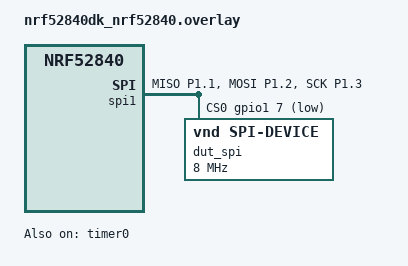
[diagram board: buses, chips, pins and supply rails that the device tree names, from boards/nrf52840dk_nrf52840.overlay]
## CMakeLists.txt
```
#
# Copyright (c) 2025 Nordic Semiconductor ASA
#
# SPDX-License-Identifier: LicenseRef-Nordic-5-Clause
#

cmake_minimum_required(VERSION 3.20.0)

find_package(Zephyr REQUIRED HINTS $ENV{ZEPHYR_BASE})

project(spim_latency)

target_sources(app PRIVATE src/main.c)
```

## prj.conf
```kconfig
CONFIG_SPI=y

CONFIG_ZTEST=y
CONFIG_DK_LIBRARY=y
CONFIG_COUNTER=y
```

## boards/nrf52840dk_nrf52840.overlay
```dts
/*
 * Copyright (c) 2025 Nordic Semiconductor ASA
 *
 * SPDX-License-Identifier: LicenseRef-Nordic-5-Clause
 */

/* Required loopbacks:
 * P1.01 <-> P1.02
 */

/ {
	aliases {
		tst-timer = &timer0;
	};
};

&pinctrl {
	dut_spi_default: dut_spi_default {
		group1 {
			psels = <NRF_PSEL(SPIM_MISO, 1, 1)>,
				<NRF_PSEL(SPIM_MOSI, 1, 2)>,
				<NRF_PSEL(SPIM_SCK, 1, 3)>;
		};
	};

	dut_spi_sleep: dut_spi_sleep {
		group1 {
			psels =	<NRF_PSEL(SPIM_MISO, 1, 1)>,
				<NRF_PSEL(SPIM_MOSI, 1, 2)>,
				<NRF_PSEL(SPIM_SCK, 1, 3)>;
			low-power-enable;
		};
	};
};

&spi1 {
	compatible = "nordic,nrf-spim";
	status = "okay";
	pinctrl-0 = <&dut_spi_default>;
	pinctrl-1 = <&dut_spi_sleep>;
	pinctrl-names = "default", "sleep";
	overrun-character = <0x00>;
	zephyr,pm-device-runtime-auto;
	cs-gpios = <&gpio1 7 GPIO_ACTIVE_LOW>;
	dut_spi: test-spi-dev@0 {
		compatible = "vnd,spi-device";
		reg = <0>;
		spi-max-frequency = <DT_FREQ_M(8)>;
	};
};

&timer0 {
	status = "okay";
};

&gpio1 {
	status = "okay";
};
```

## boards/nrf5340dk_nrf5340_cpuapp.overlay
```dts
/*
 * Copyright (c) 2025 Nordic Semiconductor ASA
 *
 * SPDX-License-Identifier: LicenseRef-Nordic-5-Clause
 */

/* Required loopbacks:
 * P0.04 <-> P0.05
 */

/ {
	aliases {
		tst-timer = &timer0;
	};
};

&pinctrl {
	dut_spi_default: dut_spi_default {
		group1 {
			psels = <NRF_PSEL(SPIM_MISO, 0, 4)>,
				<NRF_PSEL(SPIM_MOSI, 0, 5)>,
				<NRF_PSEL(SPIM_SCK, 0, 6)>;
		};
	};

	dut_spi_sleep: dut_spi_sleep {
		group1 {
			psels =	<NRF_PSEL(SPIM_MISO, 0, 4)>,
				<NRF_PSEL(SPIM_MOSI, 0, 5)>,
				<NRF_PSEL(SPIM_SCK, 0, 6)>;
			low-power-enable;
		};
	};
};

&spi1 {
	compatible = "nordic,nrf-spim";
	status = "okay";
	pinctrl-0 = <&dut_spi_default>;
	pinctrl-1 = <&dut_spi_sleep>;
	pinctrl-names = "default", "sleep";
	overrun-character = <0x00>;
	zephyr,pm-device-runtime-auto;
	cs-gpios = <&gpio0 8 GPIO_ACTIVE_LOW>;
	dut_spi: test-spi-dev@0 {
		compatible = "vnd,spi-device";
		reg = <0>;
		spi-max-frequency = <DT_FREQ_M(8)>;
	};
};

&timer0 {
	status = "okay";
};

&gpio0 {
	status = "okay";
};
```

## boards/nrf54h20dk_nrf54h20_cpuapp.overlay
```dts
/*
 * Copyright (c) 2025 Nordic Semiconductor ASA
 *
 * SPDX-License-Identifier: LicenseRef-Nordic-5-Clause
 */

/* Required loopbacks:
 * P0.07 <-> P0.06
 */

/ {
	aliases {
		tst-timer = &timer130;
	};
};

&gpiote130 {
	status = "okay";
	owned-channels = <0>;
};

&pinctrl {
	dut_spi_default: dut_spi_default {
		group1 {
			psels = <NRF_PSEL(SPIM_SCK, 0, 0)>,
				<NRF_PSEL(SPIM_MOSI, 0, 7)>,
				<NRF_PSEL(SPIM_MISO, 0, 6)>;
		};
	};

	dut_spi_sleep: dut_spi_sleep {
		group1 {
			psels = <NRF_PSEL(SPIM_SCK, 0, 0)>,
				<NRF_PSEL(SPIM_MISO, 0, 6)>,
				<NRF_PSEL(SPIM_MOSI, 0, 7)>;
			low-power-enable;
		};
	};
};

&spi130 {
	compatible = "nordic,nrf-spim";
	status = "okay";
	pinctrl-0 = <&dut_spi_default>;
	pinctrl-1 = <&dut_spi_sleep>;
	pinctrl-names = "default", "sleep";
	overrun-character = <0x00>;
	memory-regions = <&cpuapp_dma_region>;
	cs-gpios = <&gpio0 10 GPIO_ACTIVE_LOW>;
	zephyr,pm-device-runtime-auto;
	dut_spi: test-spi-dev@0 {
		compatible = "vnd,spi-device";
		reg = <0>;
		spi-max-frequency = <DT_FREQ_M(8)>;
	};
};

&exmif {
	status = "disabled";
};

&timer130 {
	status = "okay";
};
```

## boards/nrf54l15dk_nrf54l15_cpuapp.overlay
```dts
/*
 * Copyright (c) 2025 Nordic Semiconductor ASA
 *
 * SPDX-License-Identifier: LicenseRef-Nordic-5-Clause
 */

/* Required loopbacks:
 * P1.10 <-> P1.11
 */

/ {
	aliases {
		tst-timer = &timer20;
	};
};

&pinctrl {
	dut_spi_default: dut_spi_default {
		group1 {
			psels = <NRF_PSEL(SPIM_SCK, 1, 8)>,
				<NRF_PSEL(SPIM_MISO, 1, 10)>,
				<NRF_PSEL(SPIM_MOSI, 1, 11)>;
		};
	};

	dut_spi_sleep: dut_spi_sleep {
		group1 {
			psels = <NRF_PSEL(SPIM_SCK, 1, 8)>,
				<NRF_PSEL(SPIM_MISO, 1, 10)>,
				<NRF_PSEL(SPIM_MOSI, 1, 11)>;
			low-power-enable;
		};
	};
};

&spi21 {
	compatible = "nordic,nrf-spim";
	status = "okay";
	pinctrl-0 = <&dut_spi_default>;
	pinctrl-1 = <&dut_spi_sleep>;
	pinctrl-names = "default", "sleep";
	overrun-character = <0x00>;
	zephyr,pm-device-runtime-auto;
	cs-gpios = <&gpio1 12 GPIO_ACTIVE_LOW>;
	dut_spi: test-spi-dev@0 {
		compatible = "vnd,spi-device";
		reg = <0>;
		spi-max-frequency = <DT_FREQ_M(8)>;
	};
};

&gpio1 {
	status = "okay";
};

&timer20 {
	status = "okay";
};
```

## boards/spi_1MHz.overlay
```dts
/*
 * Copyright (c) 2025 Nordic Semiconductor ASA
 *
 * SPDX-License-Identifier: LicenseRef-Nordic-5-Clause
 */

&dut_spi {
	spi-max-frequency = <DT_FREQ_M(1)>;
};
```

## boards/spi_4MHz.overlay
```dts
/*
 * Copyright (c) 2025 Nordic Semiconductor ASA
 *
 * SPDX-License-Identifier: LicenseRef-Nordic-5-Clause
 */

&dut_spi {
	spi-max-frequency = <DT_FREQ_M(4)>;
};
```

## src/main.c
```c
/*
 * Copyright (c) 2025 Nordic Semiconductor ASA
 *
 * SPDX-License-Identifier: LicenseRef-Nordic-5-Clause
 */

#include <zephyr/kernel.h>
#include <zephyr/ztest.h>
#include <zephyr/drivers/spi.h>
#include <nrfx_spim.h>
#include <zephyr/linker/devicetree_regions.h>
#include <zephyr/drivers/counter.h>
#include <dk_buttons_and_leds.h>
#include <math.h>

#define TEST_TIMER_COUNT_TIME_LIMIT_MS 500

#define SPI_MODE                                                                                   \
	(SPI_OP_MODE_MASTER | SPI_WORD_SET(8) | SPI_LINES_SINGLE | SPI_TRANSFER_MSB |              \
	 SPI_MODE_CPHA | SPI_MODE_CPOL)

#define MAX_TEST_BUFFER_SIZE 2000

static struct spi_dt_spec spim_spec = SPI_DT_SPEC_GET(DT_NODELABEL(dut_spi), SPI_MODE, 0);
const struct device *const tst_timer_dev = DEVICE_DT_GET(DT_ALIAS(tst_timer));

#define MEMORY_SECTION(node)                                                                       \
	COND_CODE_1(DT_NODE_HAS_PROP(node, memory_regions),                                        \
		    (__attribute__((__section__(                                                   \
			    LINKER_DT_NODE_REGION_NAME(DT_PHANDLE(node, memory_regions)))))),      \
		    ())

static uint8_t tx_buffer[MAX_TEST_BUFFER_SIZE] MEMORY_SECTION(DT_BUS(DT_NODELABEL(dut_spi)));
static uint8_t rx_buffer[MAX_TEST_BUFFER_SIZE] MEMORY_SECTION(DT_BUS(DT_NODELABEL(dut_spi)));

static void *test_setup(void)
{
	zassert_true(spi_is_ready_dt(&spim_spec), "SPIM device is not ready");
	zassert_equal(dk_leds_init(), 0, "DK leds init failed");

	return NULL;
}

static void cleanup_buffers(void *nullp)
{
	memset(tx_buffer, 0xFF, MAX_TEST_BUFFER_SIZE);
	memset(rx_buffer, 0xFF, MAX_TEST_BUFFER_SIZE);
}

static void prepare_test_data(uint8_t *buffer, size_t buffer_size)
{
	for (size_t counter = 0; counter < buffer_size; counter++) {
		buffer[counter] = counter + 1;
	}
}

static void configure_test_timer(const struct device *timer_dev, uint32_t count_time_ms)
{
	struct counter_alarm_cfg counter_cfg;

	counter_cfg.flags = 0;
	counter_cfg.ticks = counter_us_to_ticks(timer_dev, (uint64_t)count_time_ms * 1000);
	counter_cfg.user_data = &counter_cfg;
}

static uint32_t calculate_theoretical_transsmison_time_us(size_t buffer_size,
							  uint32_t spim_frequency)
{
	double ratio = 1000000.0 / (double)spim_frequency;

	return (uint32_t)(ceil(ratio * (double)(buffer_size * 8 + NRF_SPIM_CSNDUR_DEFAULT)));
}

static void assess_measurement_result(uint64_t timer_value_us,
				      uint32_t theoretical_transmission_time_us, size_t buffer_size)
{
	uint64_t maximal_allowed_transmission_time_us;

	if (buffer_size == 1) {
		/* 3000%
		 * Issue with latency for 1B buffer is reported
		 * limit will be adjusted after fix
		 */
		maximal_allowed_transmission_time_us = (1 + 30) * theoretical_transmission_time_us;
	} else {
		/* 100% */
		maximal_allowed_transmission_time_us = (1 + 1) * theoretical_transmission_time_us;
	}
	zassert_true(timer_value_us < maximal_allowed_transmission_time_us,
		     "Measured transmission call latency is over the specified limit %llu > %llu",
		     timer_value_us, maximal_allowed_transmission_time_us);
}

static void test_spim_transmission_latency(size_t buffer_size)
{
	int err;
	uint32_t tst_timer_value;
	uint64_t timer_value_us;
	uint32_t theoretical_transmission_time_us;

	struct spi_buf tx_spi_buf = {.buf = tx_buffer, .len = buffer_size};
	struct spi_buf_set tx_spi_buf_set = {.buffers = &tx_spi_buf, .count = 1};

	struct spi_buf rx_spi_buf = {.buf = rx_buffer, .len = buffer_size};
	struct spi_buf_set rx_spi_buf_set = {.buffers = &rx_spi_buf, .count = 1};

	TC_PRINT("SPIM latency in test with buffer size: %u bytes and frequency: %uHz\n",
		 buffer_size, spim_spec.config.frequency);

	prepare_test_data(tx_buffer, buffer_size);
	configure_test_timer(tst_timer_dev, TEST_TIMER_COUNT_TIME_LIMIT_MS);
	counter_reset(tst_timer_dev);

	theoretical_transmission_time_us =
		calculate_theoretical_transsmison_time_us(buffer_size, spim_spec.config.frequency);

	dk_set_led_on(DK_LED1);
	counter_start(tst_timer_dev);
	err = spi_transceive_dt(&spim_spec, &tx_spi_buf_set, &rx_spi_buf_set);
	counter_get_value(tst_timer_dev, &tst_timer_value);
	dk_set_led_off(DK_LED1);
	counter_stop(tst_timer_dev);
	timer_value_us = counter_ticks_to_us(tst_timer_dev, tst_timer_value);

	zassert_ok(err, "SPI transceive failed");
	zassert_mem_equal(tx_buffer, rx_buffer, buffer_size);

	TC_PRINT("Calculated transmission time (for %u bytes) [us]: %u\n", buffer_size,
		 theoretical_transmission_time_us);
	TC_PRINT("spi_transceive_dt: measured transmission time (for %u bytes) [us]: %llu\n",
		 buffer_size, timer_value_us);
	TC_PRINT("spi_transceive_dt: measured - claculated time delta (for %d bytes) [us]: %lld\n",
		 buffer_size, timer_value_us - theoretical_transmission_time_us);

	assess_measurement_result(timer_value_us, theoretical_transmission_time_us, buffer_size);
}

ZTEST(spim_transmission_latency, test_spim_transceive_call_latencty)
{
	test_spim_transmission_latency(1);
	test_spim_transmission_latency(128);
	test_spim_transmission_latency(512);
	test_spim_transmission_latency(2000);
}

ZTEST_SUITE(spim_transmission_latency, NULL, test_setup, NULL, cleanup_buffers, NULL);
```
